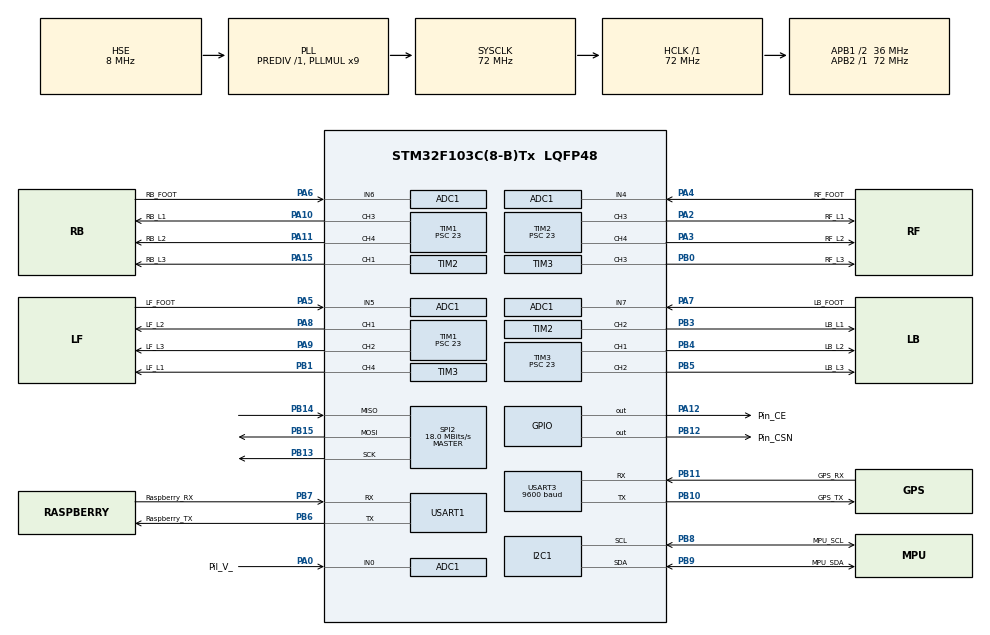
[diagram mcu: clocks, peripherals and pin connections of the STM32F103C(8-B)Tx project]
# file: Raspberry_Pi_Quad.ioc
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ADC1.Channel-0\#ChannelRegularConversion=ADC_CHANNEL_0
ADC1.Channel-1\#ChannelRegularConversion=ADC_CHANNEL_4
ADC1.Channel-2\#ChannelRegularConversion=ADC_CHANNEL_5
ADC1.Channel-3\#ChannelRegularConversion=ADC_CHANNEL_6
ADC1.Channel-4\#ChannelRegularConversion=ADC_CHANNEL_7
ADC1.ContinuousConvMode=ENABLE
ADC1.NbrOfConversion=5
ADC1.NbrOfConversionFlag=1
ADC1.Rank-0\#ChannelRegularConversion=1
ADC1.Rank-1\#ChannelRegularConversion=2
ADC1.Rank-2\#ChannelRegularConversion=3
ADC1.Rank-3\#ChannelRegularConversion=4
ADC1.Rank-4\#ChannelRegularConversion=5
ADC1.SamplingTime-0\#ChannelRegularConversion=ADC_SAMPLETIME_28CYCLES_5
ADC1.SamplingTime-1\#ChannelRegularConversion=ADC_SAMPLETIME_28CYCLES_5
ADC1.SamplingTime-2\#ChannelRegularConversion=ADC_SAMPLETIME_28CYCLES_5
ADC1.SamplingTime-3\#ChannelRegularConversion=ADC_SAMPLETIME_28CYCLES_5
ADC1.SamplingTime-4\#ChannelRegularConversion=ADC_SAMPLETIME_28CYCLES_5
ADC1.master=1
Dma.ADC1.2.Direction=DMA_PERIPH_TO_MEMORY
Dma.ADC1.2.Instance=DMA1_Channel1
Dma.ADC1.2.MemDataAlignment=DMA_MDATAALIGN_WORD
Dma.ADC1.2.MemInc=DMA_MINC_ENABLE
Dma.ADC1.2.Mode=DMA_CIRCULAR
Dma.ADC1.2.PeriphDataAlignment=DMA_PDATAALIGN_HALFWORD
Dma.ADC1.2.PeriphInc=DMA_PINC_DISABLE
Dma.ADC1.2.Priority=DMA_PRIORITY_LOW
Dma.Request0=SPI2_RX
Dma.Request1=SPI2_TX
Dma.Request2=ADC1
Dma.SPI2_RX.0.Direction=DMA_PERIPH_TO_MEMORY
Dma.SPI2_RX.0.Instance=DMA1_Channel4
Dma.SPI2_RX.0.MemDataAlignment=DMA_MDATAALIGN_HALFWORD
Dma.SPI2_RX.0.MemInc=DMA_MINC_ENABLE
Dma.SPI2_RX.0.Mode=DMA_NORMAL
Dma.SPI2_RX.0.PeriphDataAlignment=DMA_PDATAALIGN_HALFWORD
Dma.SPI2_RX.0.PeriphInc=DMA_PINC_DISABLE
Dma.SPI2_RX.0.Priority=DMA_PRIORITY_LOW
Dma.SPI2_TX.1.Direction=DMA_MEMORY_TO_PERIPH
Dma.SPI2_TX.1.Instance=DMA1_Channel5
Dma.SPI2_TX.1.MemDataAlignment=DMA_MDATAALIGN_HALFWORD
Dma.SPI2_TX.1.MemInc=DMA_MINC_ENABLE
Dma.SPI2_TX.1.Mode=DMA_NORMAL
Dma.SPI2_TX.1.PeriphDataAlignment=DMA_PDATAALIGN_HALFWORD
Dma.SPI2_TX.1.PeriphInc=DMA_PINC_DISABLE
Dma.SPI2_TX.1.Priority=DMA_PRIORITY_LOW
Mcu.Family=STM32F1
Mcu.Name=STM32F103C(8-B)Tx
Mcu.Package=LQFP48
NVIC.DMA1_Channel1_IRQn=true\:0\:0\:false\:false\:true\:false\:true
NVIC.DMA1_Channel4_IRQn=true\:0\:0\:false\:false\:true\:false\:true
NVIC.DMA1_Channel5_IRQn=true\:0\:0\:false\:false\:true\:false\:true
NVIC.PriorityGroup=NVIC_PRIORITYGROUP_4
NVIC.USART1_IRQn=true\:0\:0\:true\:false\:true\:true\:true
PA0-WKUP.GPIO_Label=Pil_V_
PA0-WKUP.Signal=ADCx_IN0
PA10.GPIO_Label=RB_L1
PA10.Signal=S_TIM1_CH3
PA11.GPIO_Label=RB_L2
PA11.Signal=S_TIM1_CH4
PA12.GPIO_Label=Pin_CE
PA12.Signal=GPIO_Output
PA13.Mode=Serial_Wire
PA13.Signal=SYS_JTMS-SWDIO
PA14.Mode=Serial_Wire
PA14.Signal=SYS_JTCK-SWCLK
PA15.GPIO_Label=RB_L3
PA15.Signal=S_TIM2_CH1_ETR
PA2.GPIO_Label=RF_L1
PA2.Signal=S_TIM2_CH3
PA3.GPIO_Label=RF_L2
PA3.Signal=S_TIM2_CH4
PA4.GPIO_Label=RF_FOOT
PA4.Signal=ADCx_IN4
PA5.GPIO_Label=LF_FOOT
PA5.Signal=ADCx_IN5
PA6.GPIO_Label=RB_FOOT
PA6.Signal=ADCx_IN6
PA7.GPIO_Label=LB_FOOT
PA7.Signal=ADCx_IN7
PA8.GPIO_Label=LF_L2
PA8.Signal=S_TIM1_CH1
PA9.GPIO_Label=LF_L3
PA9.Signal=S_TIM1_CH2
PB0.GPIO_Label=RF_L3
PB0.Signal=S_TIM3_CH3
PB1.GPIO_Label=LF_L1
PB1.Signal=S_TIM3_CH4
PB10.GPIO_Label=GPS_TX
PB10.Mode=Asynchronous
PB10.Signal=USART3_TX
PB11.GPIO_Label=GPS_RX
PB11.Mode=Asynchronous
PB11.Signal=USART3_RX
PB12.GPIO_Label=Pin_CSN
PB12.Signal=GPIO_Output
PB13.Mode=Full_Duplex_Master
PB13.Signal=SPI2_SCK
PB14.Mode=Full_Duplex_Master
PB14.Signal=SPI2_MISO
PB15.Mode=Full_Duplex_Master
PB15.Signal=SPI2_MOSI
PB3.GPIO_Label=LB_L1
PB3.Signal=S_TIM2_CH2
PB4.GPIO_Label=LB_L2
PB4.Signal=S_TIM3_CH1
PB5.GPIO_Label=LB_L3
PB5.Signal=S_TIM3_CH2
PB6.GPIO_Label=Raspberry_TX
PB6.Mode=Asynchronous
PB6.Signal=USART1_TX
PB7.GPIO_Label=Raspberry_RX
PB7.Mode=Asynchronous
PB7.Signal=USART1_RX
PB8.GPIO_Label=MPU_SCL
PB8.Mode=I2C
PB8.Signal=I2C1_SCL
PB9.GPIO_Label=MPU_SDA
PB9.Mode=I2C
PB9.Signal=I2C1_SDA
PD0-OSC_IN.Mode=HSE-External-Oscillator
PD0-OSC_IN.Signal=RCC_OSC_IN
PD1-OSC_OUT.Mode=HSE-External-Oscillator
PD1-OSC_OUT.Signal=RCC_OSC_OUT
ProjectManager.HeapSize=0x200
ProjectManager.StackSize=0x400
ProjectManager.TargetToolchain=STM32CubeIDE
RCC.ADCPresc=RCC_ADCPCLK2_DIV6
RCC.AHBFreq_Value=72000000
RCC.APB1CLKDivider=RCC_HCLK_DIV2
RCC.APB1Freq_Value=36000000
RCC.APB1TimFreq_Value=72000000
RCC.APB2Freq_Value=72000000
RCC.APB2TimFreq_Value=72000000
RCC.HCLKFreq_Value=72000000
RCC.PLLMUL=RCC_PLL_MUL9
RCC.PLLSourceVirtual=RCC_PLLSOURCE_HSE
RCC.SYSCLKFreq_VALUE=72000000
RCC.SYSCLKSource=RCC_SYSCLKSOURCE_PLLCLK
RCC.USBFreq_Value=72000000
SH.ADCx_IN0.0=ADC1_IN0,IN0
SH.ADCx_IN4.0=ADC1_IN4,IN4
SH.ADCx_IN5.0=ADC1_IN5,IN5
SH.ADCx_IN6.0=ADC1_IN6,IN6
SH.ADCx_IN7.0=ADC1_IN7,IN7
SH.S_TIM1_CH1.0=TIM1_CH1,PWM Generation1 CH1
SH.S_TIM1_CH2.0=TIM1_CH2,PWM Generation2 CH2
SH.S_TIM1_CH3.0=TIM1_CH3,PWM Generation3 CH3
SH.S_TIM1_CH4.0=TIM1_CH4,PWM Generation4 CH4
SH.S_TIM2_CH1_ETR.0=TIM2_CH1,PWM Generation1 CH1
SH.S_TIM2_CH2.0=TIM2_CH2,PWM Generation2 CH2
SH.S_TIM2_CH3.0=TIM2_CH3,PWM Generation3 CH3
SH.S_TIM2_CH4.0=TIM2_CH4,PWM Generation4 CH4
SH.S_TIM3_CH1.0=TIM3_CH1,PWM Generation1 CH1
SH.S_TIM3_CH2.0=TIM3_CH2,PWM Generation2 CH2
SH.S_TIM3_CH3.0=TIM3_CH3,PWM Generation3 CH3
SH.S_TIM3_CH4.0=TIM3_CH4,PWM Generation4 CH4
SPI2.BaudRatePrescaler=SPI_BAUDRATEPRESCALER_2
SPI2.CLKPolarity=SPI_POLARITY_HIGH
SPI2.CalculateBaudRate=18.0 MBits/s
SPI2.DataSize=SPI_DATASIZE_16BIT
SPI2.Direction=SPI_DIRECTION_2LINES
SPI2.Mode=SPI_MODE_MASTER
SPI2.VirtualType=VM_MASTER
TIM1.AutoReloadPreload=TIM_AUTORELOAD_PRELOAD_DISABLE
TIM1.Channel-PWM\ Generation1\ CH1=TIM_CHANNEL_1
TIM1.Channel-PWM\ Generation2\ CH2=TIM_CHANNEL_2
TIM1.Channel-PWM\ Generation3\ CH3=TIM_CHANNEL_3
TIM1.Channel-PWM\ Generation4\ CH4=TIM_CHANNEL_4
TIM1.Period=59999
TIM1.Prescaler=23
TIM2.Channel-PWM\ Generation1\ CH1=TIM_CHANNEL_1
TIM2.Channel-PWM\ Generation2\ CH2=TIM_CHANNEL_2
TIM2.Channel-PWM\ Generation3\ CH3=TIM_CHANNEL_3
TIM2.Channel-PWM\ Generation4\ CH4=TIM_CHANNEL_4
TIM2.Period=59999
TIM2.Prescaler=23
TIM3.Channel-PWM\ Generation1\ CH1=TIM_CHANNEL_1
TIM3.Channel-PWM\ Generation2\ CH2=TIM_CHANNEL_2
TIM3.Channel-PWM\ Generation3\ CH3=TIM_CHANNEL_3
TIM3.Channel-PWM\ Generation4\ CH4=TIM_CHANNEL_4
TIM3.Period=59999
TIM3.Prescaler=23
USART1.VirtualMode=VM_ASYNC
USART3.BaudRate=9600
USART3.VirtualMode=VM_ASYNC
VP_TIM1_VS_ClockSourceINT.Mode=Internal
VP_TIM2_VS_ClockSourceINT.Mode=Internal
VP_TIM3_VS_ClockSourceINT.Mode=Internal
VP_TIM4_VS_ClockSourceINT.Mode=Internal
board=custom

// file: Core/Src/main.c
/* USER CODE BEGIN Header */
/**
  ******************************************************************************
  * @file           : main.c
  * @brief          : Main program body
  ******************************************************************************
  * @attention
  *
  * <h2><center>&copy; Copyright (c) 2021 STMicroelectronics.
  * All rights reserved.</center></h2>
  *
  * This software component is licensed by ST under BSD 3-Clause license,
  * the "License"; You may not use this file except in compliance with the
  * License. You may obtain a copy of the License at:
  *                        opensource.org/licenses/BSD-3-Clause
  *
  ******************************************************************************
  */
/* USER CODE END Header */

#include "main.h"

/* USER CODE BEGIN Includes */
#include "stdio.h"
#include "string.h"
#include "stdlib.h"
#include "stdbool.h"
#include "gps.h"

/* USER CODE END Includes */

ADC_HandleTypeDef hadc1;
DMA_HandleTypeDef hdma_adc1;

I2C_HandleTypeDef hi2c1;
DMA_HandleTypeDef hdma_i2c1_rx;
DMA_HandleTypeDef hdma_i2c1_tx;

SPI_HandleTypeDef hspi2;
DMA_HandleTypeDef hdma_spi2_rx;
DMA_HandleTypeDef hdma_spi2_tx;

TIM_HandleTypeDef htim1;
TIM_HandleTypeDef htim2;
TIM_HandleTypeDef htim3;
TIM_HandleTypeDef htim4;

UART_HandleTypeDef huart1;
UART_HandleTypeDef huart3;
DMA_HandleTypeDef hdma_usart3_rx;
DMA_HandleTypeDef hdma_usart3_tx;

void SystemClock_Config(void);
static void MX_GPIO_Init(void);
static void MX_DMA_Init(void);
static void MX_ADC1_Init(void);
static void MX_I2C1_Init(void);
static void MX_SPI2_Init(void);
static void MX_TIM1_Init(void);
static void MX_TIM2_Init(void);
static void MX_TIM3_Init(void);
static void MX_TIM4_Init(void);
static void MX_USART1_UART_Init(void);
static void MX_USART3_UART_Init(void);

/* USER CODE BEGIN 0 */
struct angles {
  double tetta;
  double alpha;
  double gamma;
};////vector
struct angles anglesFR;
struct angles anglesFL;
struct angles anglesBR;
struct angles anglesBL;
//VARIABLES PARA RECIVIR EL COMANDO

int length;
const char write = 'o';           //MOTOR TRANSMISION
const char read = 'r';            //MOTOR OFSET
const char startMarker = '<';     // START TRANSMISION
const char endMarker = '>';       // STOP TRANSMISION
const char spaceMarker = '#';     // BRACE TRANSMISION

int pulse[12]={};
int ofset_pulse[12]={};
int servo_deneme_ofset[12]={4500,4500,4500,4500,4500,4500,4500,4500,4500,4500,4500,4500};

//PWM 1500-->0*   7500-->180*

void Servo_go(int servo,int pwm);
void receive_data_division(char *str);
void data_transmit(char *str);

char rxBuffer1[64],rxBuffer3[64];
uint32_t adc_buffer[5];
static char* Uart_start_command = "\nUart Basladi \n";
static char* Uart_continue_command = "Sistem Yukleniyor...\n";

/* USER CODE END 0 */

int main(void)
{

  /* MCU Configuration--------------------------------------------------------*/

  /* Reset of all peripherals, Initializes the Flash interface and the Systick. */
  HAL_Init();

  /* Configure the system clock */
  SystemClock_Config();

  /* Initialize all configured peripherals */
  MX_GPIO_Init();
  MX_DMA_Init();
  MX_ADC1_Init();
  MX_I2C1_Init();
  MX_SPI2_Init();
  MX_TIM1_Init();
  MX_TIM2_Init();
  MX_TIM3_Init();
  MX_TIM4_Init();
  MX_USART1_UART_Init();
  MX_USART3_UART_Init();
  /* USER CODE BEGIN 2 */

  /***-----------BURAYI KONTROL ET DAHA SONRA ----------***/

  /*
   *
   * START ROBOT COMMANDS  AND CALIBRATION COMMANDs
   *
  while(HAL_UART_GetState(&huart1)!=HAL_UART_STATE_READY)	{}
  if(HAL_UART_Receive_IT(&huart1,(uint8_t *)rxBuffer1,1)!=HAL_OK)
  {
	  Error_Handler();
  }

  while(HAL_UART_GetState(&huart3)!=HAL_UART_STATE_READY)	{}
  if(HAL_UART_Receive_IT(&huart3,(uint8_t *)rxBuffer3,1)!=HAL_OK)
  {
	  Error_Handler();
  }
  */

 /*-----UART BAŞLADI MESAJI İLE STM'İN HABERLEŞME PROTOKOLÜNÜN BAŞLADIĞININ BİLGİSİ.----*/
  while(HAL_UART_GetState(&huart1)!= HAL_UART_STATE_READY);
  if(HAL_UART_Transmit_IT(&huart1, (uint8_t *)Uart_start_command, strlen(Uart_start_command))!=HAL_OK)
  {
	  Error_Handler();
  }

  HAL_Delay(100);

  HAL_ADC_Start_DMA(&hadc1, adc_buffer, 4);

  /* Right Front Theta , Alpha  , Gamma				*/
  HAL_TIM_PWM_Start(&htim2,TIM_CHANNEL_3);
  HAL_TIM_PWM_Start(&htim2,TIM_CHANNEL_4);
  HAL_TIM_PWM_Start(&htim3,TIM_CHANNEL_3);

  /* Left Front Theta , Alpha  , Gamma				*/
  HAL_TIM_PWM_Start(&htim3,TIM_CHANNEL_4);
  HAL_TIM_PWM_Start(&htim1,TIM_CHANNEL_1);
  HAL_TIM_PWM_Start(&htim1,TIM_CHANNEL_2);

  /* Right Back Theta , Alpha  , Gamma				*/
  HAL_TIM_PWM_Start(&htim1,TIM_CHANNEL_3);
  HAL_TIM_PWM_Start(&htim1,TIM_CHANNEL_4);
  HAL_TIM_PWM_Start(&htim2,TIM_CHANNEL_1);

  /* Left Back Theta , Alpha  , Gamma				*/
  HAL_TIM_PWM_Start(&htim2,TIM_CHANNEL_2);
  HAL_TIM_PWM_Start(&htim3,TIM_CHANNEL_1);
  HAL_TIM_PWM_Start(&htim3,TIM_CHANNEL_2);

  if(HAL_UART_Transmit_IT(&huart1, (uint8_t *)Uart_continue_command, strlen(Uart_continue_command))!=HAL_OK)
  {
	  Error_Handler();
  }

  HAL_Delay(100);

  /*
   * GPS INIT
   *
	GPS_Init(&huart3);
   *
   *
  */

/*------- ZAMAN KESMESİNİ BAŞLATMA -------*/
  HAL_TIM_Base_Start_IT(&htim4);

  /* USER CODE END 2 */

  /* Infinite loop */
  while (1)
  {
	for(int i=0;i<12;i++)
	{
		Servo_go(i,servo_deneme_ofset[i]);
	}
	HAL_Delay(1000);
  }
}

void SystemClock_Config(void)
{
  RCC_OscInitTypeDef RCC_OscInitStruct = {0};
  RCC_ClkInitTypeDef RCC_ClkInitStruct = {0};
  RCC_PeriphCLKInitTypeDef PeriphClkInit = {0};

  /** Initializes the CPU, AHB and APB busses clocks
  */
  RCC_OscInitStruct.OscillatorType = RCC_OSCILLATORTYPE_HSE;
  RCC_OscInitStruct.HSEState = RCC_HSE_ON;
  RCC_OscInitStruct.HSEPredivValue = RCC_HSE_PREDIV_DIV1;
  RCC_OscInitStruct.HSIState = RCC_HSI_ON;
  RCC_OscInitStruct.PLL.PLLState = RCC_PLL_ON;
  RCC_OscInitStruct.PLL.PLLSource = RCC_PLLSOURCE_HSE;
  RCC_OscInitStruct.PLL.PLLMUL = RCC_PLL_MUL9;
  if (HAL_RCC_OscConfig(&RCC_OscInitStruct) != HAL_OK)
  {
    Error_Handler();
  }
  /** Initializes the CPU, AHB and APB busses clocks
  */
  RCC_ClkInitStruct.ClockType = RCC_CLOCKTYPE_HCLK|RCC_CLOCKTYPE_SYSCLK
                              |RCC_CLOCKTYPE_PCLK1|RCC_CLOCKTYPE_PCLK2;
  RCC_ClkInitStruct.SYSCLKSource = RCC_SYSCLKSOURCE_PLLCLK;
  RCC_ClkInitStruct.AHBCLKDivider = RCC_SYSCLK_DIV1;
  RCC_ClkInitStruct.APB1CLKDivider = RCC_HCLK_DIV2;
  RCC_ClkInitStruct.APB2CLKDivider = RCC_HCLK_DIV1;

  if (HAL_RCC_ClockConfig(&RCC_ClkInitStruct, FLASH_LATENCY_2) != HAL_OK)
  {
    Error_Handler();
  }
  PeriphClkInit.PeriphClockSelection = RCC_PERIPHCLK_ADC;
  PeriphClkInit.AdcClockSelection = RCC_ADCPCLK2_DIV6;
  if (HAL_RCCEx_PeriphCLKConfig(&PeriphClkInit) != HAL_OK)
  {
    Error_Handler();
  }
}

static void MX_ADC1_Init(void)
{

  ADC_ChannelConfTypeDef sConfig = {0};

  /** Common config
  */
  hadc1.Instance = ADC1;
  hadc1.Init.ScanConvMode = ADC_SCAN_ENABLE;
  hadc1.Init.ContinuousConvMode = ENABLE;
  hadc1.Init.DiscontinuousConvMode = DISABLE;
  hadc1.Init.ExternalTrigConv = ADC_SOFTWARE_START;
  hadc1.Init.DataAlign = ADC_DATAALIGN_RIGHT;
  hadc1.Init.NbrOfConversion = 5;
  if (HAL_ADC_Init(&hadc1) != HAL_OK)
  {
    Error_Handler();
  }
  /** Configure Regular Channel
  */
  sConfig.Channel = ADC_CHANNEL_0;
  sConfig.Rank = ADC_REGULAR_RANK_1;
  sConfig.SamplingTime = ADC_SAMPLETIME_28CYCLES_5;
  if (HAL_ADC_ConfigChannel(&hadc1, &sConfig) != HAL_OK)
  {
    Error_Handler();
  }
  /** Configure Regular Channel
  */
  sConfig.Channel = ADC_CHANNEL_4;
  sConfig.Rank = ADC_REGULAR_RANK_2;
  if (HAL_ADC_ConfigChannel(&hadc1, &sConfig) != HAL_OK)
  {
    Error_Handler();
  }
  /** Configure Regular Channel
  */
  sConfig.Channel = ADC_CHANNEL_5;
  sConfig.Rank = ADC_REGULAR_RANK_3;
  if (HAL_ADC_ConfigChannel(&hadc1, &sConfig) != HAL_OK)
  {
    Error_Handler();
  }
  /** Configure Regular Channel
  */
  sConfig.Channel = ADC_CHANNEL_6;
  sConfig.Rank = ADC_REGULAR_RANK_4;
  if (HAL_ADC_ConfigChannel(&hadc1, &sConfig) != HAL_OK)
  {
    Error_Handler();
  }
  /** Configure Regular Channel
  */
  sConfig.Channel = ADC_CHANNEL_7;
  sConfig.Rank = ADC_REGULAR_RANK_5;
  if (HAL_ADC_ConfigChannel(&hadc1, &sConfig) != HAL_OK)
  {
    Error_Handler();
  }

}

static void MX_I2C1_Init(void)
{

  hi2c1.Instance = I2C1;
  hi2c1.Init.ClockSpeed = 100000;
  hi2c1.Init.DutyCycle = I2C_DUTYCYCLE_2;
  hi2c1.Init.OwnAddress1 = 0;
  hi2c1.Init.AddressingMode = I2C_ADDRESSINGMODE_7BIT;
  hi2c1.Init.DualAddressMode = I2C_DUALADDRESS_DISABLE;
  hi2c1.Init.OwnAddress2 = 0;
  hi2c1.Init.GeneralCallMode = I2C_GENERALCALL_DISABLE;
  hi2c1.Init.NoStretchMode = I2C_NOSTRETCH_DISABLE;
  if (HAL_I2C_Init(&hi2c1) != HAL_OK)
  {
    Error_Handler();
  }

}

static void MX_SPI2_Init(void)
{

  /* SPI2 parameter configuration*/
  hspi2.Instance = SPI2;
  hspi2.Init.Mode = SPI_MODE_MASTER;
  hspi2.Init.Direction = SPI_DIRECTION_2LINES;
  hspi2.Init.DataSize = SPI_DATASIZE_16BIT;
  hspi2.Init.CLKPolarity = SPI_POLARITY_HIGH;
  hspi2.Init.CLKPhase = SPI_PHASE_1EDGE;
  hspi2.Init.NSS = SPI_NSS_SOFT;
  hspi2.Init.BaudRatePrescaler = SPI_BAUDRATEPRESCALER_2;
  hspi2.Init.FirstBit = SPI_FIRSTBIT_MSB;
  hspi2.Init.TIMode = SPI_TIMODE_DISABLE;
  hspi2.Init.CRCCalculation = SPI_CRCCALCULATION_DISABLE;
  hspi2.Init.CRCPolynomial = 10;
  if (HAL_SPI_Init(&hspi2) != HAL_OK)
  {
    Error_Handler();
  }

}

static void MX_TIM1_Init(void)
{

  TIM_ClockConfigTypeDef sClockSourceConfig = {0};
  TIM_MasterConfigTypeDef sMasterConfig = {0};
  TIM_OC_InitTypeDef sConfigOC = {0};
  TIM_BreakDeadTimeConfigTypeDef sBreakDeadTimeConfig = {0};

  htim1.Instance = TIM1;
  htim1.Init.Prescaler = 23;
  htim1.Init.CounterMode = TIM_COUNTERMODE_UP;
  htim1.Init.Period = 59999;
  htim1.Init.ClockDivision = TIM_CLOCKDIVISION_DIV1;
  htim1.Init.RepetitionCounter = 0;
  htim1.Init.AutoReloadPreload = TIM_AUTORELOAD_PRELOAD_DISABLE;
  if (HAL_TIM_Base_Init(&htim1) != HAL_OK)
  {
    Error_Handler();
  }
  sClockSourceConfig.ClockSource = TIM_CLOCKSOURCE_INTERNAL;
  if (HAL_TIM_ConfigClockSource(&htim1, &sClockSourceConfig) != HAL_OK)
  {
    Error_Handler();
  }
  if (HAL_TIM_PWM_Init(&htim1) != HAL_OK)
  {
    Error_Handler();
  }
  sMasterConfig.MasterOutputTrigger = TIM_TRGO_RESET;
  sMasterConfig.MasterSlaveMode = TIM_MASTERSLAVEMODE_DISABLE;
  if (HAL_TIMEx_MasterConfigSynchronization(&htim1, &sMasterConfig) != HAL_OK)
  {
    Error_Handler();
  }
  sConfigOC.OCMode = TIM_OCMODE_PWM1;
  sConfigOC.Pulse = 0;
  sConfigOC.OCPolarity = TIM_OCPOLARITY_HIGH;
  sConfigOC.OCNPolarity = TIM_OCNPOLARITY_HIGH;
  sConfigOC.OCFastMode = TIM_OCFAST_DISABLE;
  sConfigOC.OCIdleState = TIM_OCIDLESTATE_RESET;
  sConfigOC.OCNIdleState = TIM_OCNIDLESTATE_RESET;
  if (HAL_TIM_PWM_ConfigChannel(&htim1, &sConfigOC, TIM_CHANNEL_1) != HAL_OK)
  {
    Error_Handler();
  }
  if (HAL_TIM_PWM_ConfigChannel(&htim1, &sConfigOC, TIM_CHANNEL_2) != HAL_OK)
  {
    Error_Handler();
  }
  if (HAL_TIM_PWM_ConfigChannel(&htim1, &sConfigOC, TIM_CHANNEL_3) != HAL_OK)
  {
    Error_Handler();
  }
  if (HAL_TIM_PWM_ConfigChannel(&htim1, &sConfigOC, TIM_CHANNEL_4) != HAL_OK)
  {
    Error_Handler();
  }
  sBreakDeadTimeConfig.OffStateRunMode = TIM_OSSR_DISABLE;
  sBreakDeadTimeConfig.OffStateIDLEMode = TIM_OSSI_DISABLE;
  sBreakDeadTimeConfig.LockLevel = TIM_LOCKLEVEL_OFF;
  sBreakDeadTimeConfig.DeadTime = 0;
  sBreakDeadTimeConfig.BreakState = TIM_BREAK_DISABLE;
  sBreakDeadTimeConfig.BreakPolarity = TIM_BREAKPOLARITY_HIGH;
  sBreakDeadTimeConfig.AutomaticOutput = TIM_AUTOMATICOUTPUT_DISABLE;
  if (HAL_TIMEx_ConfigBreakDeadTime(&htim1, &sBreakDeadTimeConfig) != HAL_OK)
  {
    Error_Handler();
  }
  HAL_TIM_MspPostInit(&htim1);

}

static void MX_TIM2_Init(void)
{

  TIM_ClockConfigTypeDef sClockSourceConfig = {0};
  TIM_MasterConfigTypeDef sMasterConfig = {0};
  TIM_OC_InitTypeDef sConfigOC = {0};

  htim2.Instance = TIM2;
  htim2.Init.Prescaler = 23;
  htim2.Init.CounterMode = TIM_COUNTERMODE_UP;
  htim2.Init.Period = 59999;
  htim2.Init.ClockDivision = TIM_CLOCKDIVISION_DIV1;
  htim2.Init.AutoReloadPreload = TIM_AUTORELOAD_PRELOAD_DISABLE;
  if (HAL_TIM_Base_Init(&htim2) != HAL_OK)
  {
    Error_Handler();
  }
  sClockSourceConfig.ClockSource = TIM_CLOCKSOURCE_INTERNAL;
  if (HAL_TIM_ConfigClockSource(&htim2, &sClockSourceConfig) != HAL_OK)
  {
    Error_Handler();
  }
  if (HAL_TIM_PWM_Init(&htim2) != HAL_OK)
  {
    Error_Handler();
  }
  sMasterConfig.MasterOutputTrigger = TIM_TRGO_RESET;
  sMasterConfig.MasterSlaveMode = TIM_MASTERSLAVEMODE_DISABLE;
  if (HAL_TIMEx_MasterConfigSynchronization(&htim2, &sMasterConfig) != HAL_OK)
  {
    Error_Handler();
  }
  sConfigOC.OCMode = TIM_OCMODE_PWM1;
  sConfigOC.Pulse = 0;
  sConfigOC.OCPolarity = TIM_OCPOLARITY_HIGH;
  sConfigOC.OCFastMode = TIM_OCFAST_DISABLE;
  if (HAL_TIM_PWM_ConfigChannel(&htim2, &sConfigOC, TIM_CHANNEL_1) != HAL_OK)
  {
    Error_Handler();
  }
  if (HAL_TIM_PWM_ConfigChannel(&htim2, &sConfigOC, TIM_CHANNEL_2) != HAL_OK)
  {
    Error_Handler();
  }
  if (HAL_TIM_PWM_ConfigChannel(&htim2, &sConfigOC, TIM_CHANNEL_3) != HAL_OK)
  {
    Error_Handler();
  }
  if (HAL_TIM_PWM_ConfigChannel(&htim2, &sConfigOC, TIM_CHANNEL_4) != HAL_OK)
  {
    Error_Handler();
  }
  HAL_TIM_MspPostInit(&htim2);

}

static void MX_TIM3_Init(void)
{

  TIM_ClockConfigTypeDef sClockSourceConfig = {0};
  TIM_MasterConfigTypeDef sMasterConfig = {0};
  TIM_OC_InitTypeDef sConfigOC = {0};

  htim3.Instance = TIM3;
  htim3.Init.Prescaler = 23;
  htim3.Init.CounterMode = TIM_COUNTERMODE_UP;
  htim3.Init.Period = 59999;
  htim3.Init.ClockDivision = TIM_CLOCKDIVISION_DIV1;
  htim3.Init.AutoReloadPreload = TIM_AUTORELOAD_PRELOAD_DISABLE;
  if (HAL_TIM_Base_Init(&htim3) != HAL_OK)
  {
    Error_Handler();
  }
  sClockSourceConfig.ClockSource = TIM_CLOCKSOURCE_INTERNAL;
  if (HAL_TIM_ConfigClockSource(&htim3, &sClockSourceConfig) != HAL_OK)
  {
    Error_Handler();
  }
  if (HAL_TIM_PWM_Init(&htim3) != HAL_OK)
  {
    Error_Handler();
  }
  sMasterConfig.MasterOutputTrigger = TIM_TRGO_RESET;
  sMasterConfig.MasterSlaveMode = TIM_MASTERSLAVEMODE_DISABLE;
  if (HAL_TIMEx_MasterConfigSynchronization(&htim3, &sMasterConfig) != HAL_OK)
  {
    Error_Handler();
  }
  sConfigOC.OCMode = TIM_OCMODE_PWM1;
  sConfigOC.Pulse = 0;
  sConfigOC.OCPolarity = TIM_OCPOLARITY_HIGH;
  sConfigOC.OCFastMode = TIM_OCFAST_DISABLE;
  if (HAL_TIM_PWM_ConfigChannel(&htim3, &sConfigOC, TIM_CHANNEL_1) != HAL_OK)
  {
    Error_Handler();
  }
  if (HAL_TIM_PWM_ConfigChannel(&htim3, &sConfigOC, TIM_CHANNEL_2) != HAL_OK)
  {
    Error_Handler();
  }
  if (HAL_TIM_PWM_ConfigChannel(&htim3, &sConfigOC, TIM_CHANNEL_3) != HAL_OK)
  {
    Error_Handler();
  }
  if (HAL_TIM_PWM_ConfigChannel(&htim3, &sConfigOC, TIM_CHANNEL_4) != HAL_OK)
  {
    Error_Handler();
  }
  HAL_TIM_MspPostInit(&htim3);

}

static void MX_TIM4_Init(void)
{

  TIM_ClockConfigTypeDef sClockSourceConfig = {0};
  TIM_MasterConfigTypeDef sMasterConfig = {0};

  htim4.Instance = TIM4;
  htim4.Init.Prescaler = 359;
  htim4.Init.CounterMode = TIM_COUNTERMODE_UP;
  htim4.Init.Period = 4999;
  htim4.Init.ClockDivision = TIM_CLOCKDIVISION_DIV1;
  htim4.Init.AutoReloadPreload = TIM_AUTORELOAD_PRELOAD_ENABLE;
  if (HAL_TIM_Base_Init(&htim4) != HAL_OK)
  {
    Error_Handler();
  }
  sClockSourceConfig.ClockSource = TIM_CLOCKSOURCE_INTERNAL;
  if (HAL_TIM_ConfigClockSource(&htim4, &sClockSourceConfig) != HAL_OK)
  {
    Error_Handler();
  }
  sMasterConfig.MasterOutputTrigger = TIM_TRGO_RESET;
  sMasterConfig.MasterSlaveMode = TIM_MASTERSLAVEMODE_DISABLE;
  if (HAL_TIMEx_MasterConfigSynchronization(&htim4, &sMasterConfig) != HAL_OK)
  {
    Error_Handler();
  }

}

static void MX_USART1_UART_Init(void)
{

  huart1.Instance = USART1;
  huart1.Init.BaudRate = 115200;
  huart1.Init.WordLength = UART_WORDLENGTH_8B;
  huart1.Init.StopBits = UART_STOPBITS_1;
  huart1.Init.Parity = UART_PARITY_NONE;
  huart1.Init.Mode = UART_MODE_TX_RX;
  huart1.Init.HwFlowCtl = UART_HWCONTROL_NONE;
  huart1.Init.OverSampling = UART_OVERSAMPLING_16;
  if (HAL_UART_Init(&huart1) != HAL_OK)
  {
    Error_Handler();
  }

}

static void MX_USART3_UART_Init(void)
{

  huart3.Instance = USART3;
  huart3.Init.BaudRate = 115200;
  huart3.Init.WordLength = UART_WORDLENGTH_8B;
  huart3.Init.StopBits = UART_STOPBITS_1;
  huart3.Init.Parity = UART_PARITY_NONE;
  huart3.Init.Mode = UART_MODE_TX_RX;
  huart3.Init.HwFlowCtl = UART_HWCONTROL_NONE;
  huart3.Init.OverSampling = UART_OVERSAMPLING_16;
  if (HAL_UART_Init(&huart3) != HAL_OK)
  {
    Error_Handler();
  }

}

static void MX_DMA_Init(void)
{

  /* DMA controller clock enable */
  __HAL_RCC_DMA1_CLK_ENABLE();

  /* DMA interrupt init */
  /* DMA1_Channel1_IRQn interrupt configuration */
  HAL_NVIC_SetPriority(DMA1_Channel1_IRQn, 0, 0);
  HAL_NVIC_EnableIRQ(DMA1_Channel1_IRQn);
  /* DMA1_Channel2_IRQn interrupt configuration */
  HAL_NVIC_SetPriority(DMA1_Channel2_IRQn, 0, 0);
  HAL_NVIC_EnableIRQ(DMA1_Channel2_IRQn);
  /* DMA1_Channel3_IRQn interrupt configuration */
  HAL_NVIC_SetPriority(DMA1_Channel3_IRQn, 0, 0);
  HAL_NVIC_EnableIRQ(DMA1_Channel3_IRQn);
  /* DMA1_Channel4_IRQn interrupt configuration */
  HAL_NVIC_SetPriority(DMA1_Channel4_IRQn, 0, 0);
  HAL_NVIC_EnableIRQ(DMA1_Channel4_IRQn);
  /* DMA1_Channel5_IRQn interrupt configuration */
  HAL_NVIC_SetPriority(DMA1_Channel5_IRQn, 0, 0);
  HAL_NVIC_EnableIRQ(DMA1_Channel5_IRQn);
  /* DMA1_Channel6_IRQn interrupt configuration */
  HAL_NVIC_SetPriority(DMA1_Channel6_IRQn, 0, 0);
  HAL_NVIC_EnableIRQ(DMA1_Channel6_IRQn);
  /* DMA1_Channel7_IRQn interrupt configuration */
  HAL_NVIC_SetPriority(DMA1_Channel7_IRQn, 0, 0);
  HAL_NVIC_EnableIRQ(DMA1_Channel7_IRQn);

}

static void MX_GPIO_Init(void)
{
  GPIO_InitTypeDef GPIO_InitStruct = {0};

  /* GPIO Ports Clock Enable */
  __HAL_RCC_GPIOD_CLK_ENABLE();
  __HAL_RCC_GPIOA_CLK_ENABLE();
  __HAL_RCC_GPIOB_CLK_ENABLE();

  /*Configure GPIO pin Output Level */
  HAL_GPIO_WritePin(Pin_CSN_GPIO_Port, Pin_CSN_Pin, GPIO_PIN_RESET);

  /*Configure GPIO pin Output Level */
  HAL_GPIO_WritePin(Pin_CE_GPIO_Port, Pin_CE_Pin, GPIO_PIN_RESET);

  /*Configure GPIO pin : Pin_CSN_Pin */
  GPIO_InitStruct.Pin = Pin_CSN_Pin;
  GPIO_InitStruct.Mode = GPIO_MODE_OUTPUT_PP;
  GPIO_InitStruct.Pull = GPIO_NOPULL;
  GPIO_InitStruct.Speed = GPIO_SPEED_FREQ_LOW;
  HAL_GPIO_Init(Pin_CSN_GPIO_Port, &GPIO_InitStruct);

  /*Configure GPIO pin : Pin_CE_Pin */
  GPIO_InitStruct.Pin = Pin_CE_Pin;
  GPIO_InitStruct.Mode = GPIO_MODE_OUTPUT_PP;
  GPIO_InitStruct.Pull = GPIO_NOPULL;
  GPIO_InitStruct.Speed = GPIO_SPEED_FREQ_LOW;
  HAL_GPIO_Init(Pin_CE_GPIO_Port, &GPIO_InitStruct);

}

/* USER CODE BEGIN 4 */
void HAL_SPI_TxCpltCallback(SPI_HandleTypeDef *hspi)
{
// konum ve oryantasyon bilgisi ,
}

void HAL_TIM_PeriodElapsedCallback(TIM_HandleTypeDef *htim)
{
	/*
	 * Ten micro second timer interrupt  --> Data transmit time....
	 *
	 */
}

void HAL_UART_TxCpltCallback(UART_HandleTypeDef *huart)
{
	 // if (huart->Instance == USART1)
	  {

		  /*
		   *	TRANSMİT DATA EXAMPLE
		   *
		   *	FORCE SENSING  | VOLTAGE SENSING |	ACCELERATION(ax,ay,az,gx,gy,gz) | QUATERNIONS(Q1 , Q2 , Q3 , Q4)  -- 10ms
		   *
		   * 	GPS DATA TRANSMİT  -- 3 second
		   *
		   */
	  }
	/*
	else if (huart->Instance == USART3)
	  {
		 //GPS veri gönderimi
	  }
	 */

}

void HAL_UART_RxCpltCallback(UART_HandleTypeDef *huart)
{

	/*		variable   rxBuffer1[64],rxBuffer3[64];					*/
	  if (huart->Instance == USART1)
	  {
		  HAL_UART_Receive_IT(&huart1, (uint8_t *)rxBuffer1, 64);
		  receive_data_division(rxBuffer1);

		  /*
		   * Raspberry pi --> receive command take
		   * Receive command servo
		   * servo_go function work.
		   *
		   *
		   */
	  }
	 else if (huart->Instance == USART3)
	  {
		 /*
		  *
		  * GPS DATA TAKE --> after data division function write... I will transmit gps data.
		  *
		  */

	  }

}

void data_transmit(char *str)
{
	HAL_UART_Transmit_IT(&huart1,(uint8_t *)str, strlen(str));

}

void receive_data_division(char *str)
{
	/*
	 * DATA EXAMPLE...
	 *
    char str[]="<1001#1002#1003#1004#1005#1006#1007#1008#1009#1010#1011#1012#r>";
    */
    char *ptr;
    if(str[0] == startMarker && str[strlen(str)-1]==endMarker)
    {
        str[0]=' ';

        /*
        length = strlen(str);
        printf( " %d\n", length);
        printf( " %d\n", str[0]);
        */

        if(str[strlen(str)-2]==write)
        {
/*            printf("MOTOR KOMUT İŞLEMİ\n");				*/
            int i=0;
            ptr = strtok(str,&spaceMarker);
            pulse[i]=atoi(ptr);
/*            printf( " %d\n", pulse[i]);					*/
            while(1)
            {
            i++;
            ptr = strtok(NULL,&spaceMarker);
            if(ptr==NULL) break;
            pulse[i]=atoi(ptr);
/*            printf( " %d\n", pulse[i]);  					*/
            }
        }
        else if(str[strlen(str)-2]==read)
        {
/*            printf("MOTOR OFSET İŞLEMİ\n");				*/
            int i=0;
            ptr = strtok(str,&spaceMarker);
            ofset_pulse[i]=atoi(ptr);
/*            printf( " %d\n", ofset_pulse[i]);				*/
            while(1)
            {
            i++;
            ptr = strtok(NULL,&spaceMarker);
            if(ptr==NULL) break;
            ofset_pulse[i]=atoi(ptr);
/*            printf( " %d\n", ofset_pulse[i]);				*/
            }
        }
    }

}

void Servo_go(int servo,int pwm)
{		/*			RF SERVO Theta , Alpha , Gamma				*/
		 if(servo==0)		__HAL_TIM_SET_COMPARE(&htim2,TIM_CHANNEL_3,pwm);
	else if(servo==1) 		__HAL_TIM_SET_COMPARE(&htim2,TIM_CHANNEL_4,pwm);
	else if(servo==2)		__HAL_TIM_SET_COMPARE(&htim3,TIM_CHANNEL_3,pwm);
		/*			LF SERVO Theta , Alpha , Gamma				*/
	else if(servo==3)		__HAL_TIM_SET_COMPARE(&htim3,TIM_CHANNEL_4,pwm);
	else if(servo==4)		__HAL_TIM_SET_COMPARE(&htim1,TIM_CHANNEL_1,pwm);
	else if(servo==5)		__HAL_TIM_SET_COMPARE(&htim1,TIM_CHANNEL_2,pwm);
		/*			RB SERVO Theta , Alpha , Gamma				*/
	else if(servo==6)		__HAL_TIM_SET_COMPARE(&htim1,TIM_CHANNEL_3,pwm);
	else if(servo==7)		__HAL_TIM_SET_COMPARE(&htim1,TIM_CHANNEL_4,pwm);
	else if(servo==8)		__HAL_TIM_SET_COMPARE(&htim2,TIM_CHANNEL_1,pwm);
		/*			LB SERVO Theta , Alpha , Gamma				*/
	else if(servo==9)		__HAL_TIM_SET_COMPARE(&htim2,TIM_CHANNEL_2,pwm);
	else if(servo==10)		__HAL_TIM_SET_COMPARE(&htim3,TIM_CHANNEL_1,pwm);
	else if(servo==11)		__HAL_TIM_SET_COMPARE(&htim3,TIM_CHANNEL_2,pwm);
}

/* USER CODE END 4 */

void Error_Handler(void)
{
}

/************************ (C) COPYRIGHT STMicroelectronics *****END OF FILE****/
